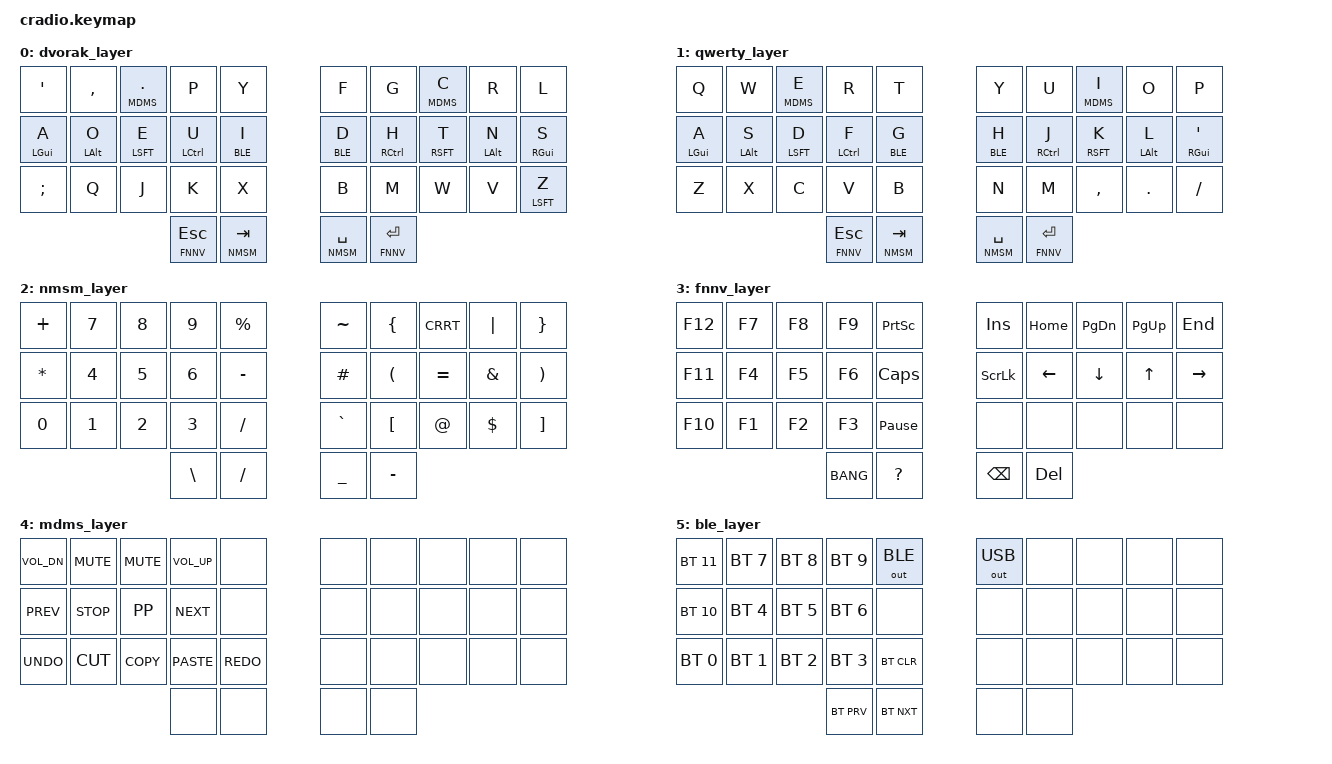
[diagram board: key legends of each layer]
/*
 * Copyright (c) 2020 The ZMK Contributors
 *
 * SPDX-License-Identifier: MIT
 */

#include <behaviors.dtsi>
#include <dt-bindings/zmk/keys.h>
#include <dt-bindings/zmk/bt.h>
#include <dt-bindings/zmk/outputs.h>

#define DVRK 0 /* dvorak */
#define QWRT 1 /* qwerty */
#define NMSM 2 /* numbers + symbols */
#define FNNV 3 /* function keys + navigation  */
#define MDMS 4 /* media + mouse */
#define BLE  5 /* for configuring bluetooth */


/* homerow mod placement ("left pinky mod" = LPMD, "left ring mod" = LRMD, etc) */
#define LPMD LGUI
#define LRMD LALT
#define LMMD LSFT
#define LIMD LCTL 
#define RPMD RGUI
#define RRMD RALT
#define RMMD RSFT
#define RIMD RCTL 

&lt {
    flavor = "balanced";
    tapping_term_ms = <150>;
};

&mt {
    flavor = "balanced";
    tapping_term_ms = <150>;
};

/ { 
    behaviors {
        bkspdel: backspace_delete {
            compatible = "zmk,behavior-mod-morph";
            label = "BACKSPACE_DELETE";
            #binding-cells = <0>;
            bindings = <&kp BSPC>, <&kp DEL>;
            mods = <(MOD_LCTL|MOD_RCTL)>;
        };
    };


    /* keys are numbered started at top left of left hand, and counting across both hands for the entire row.
       So rows are 0-9, 10-19, 20-29, 30-33 (thumbs) 
    */
    combos {
        compatible = "zmk,combos";

        /* hit both left thumb keys at the same time for a delete keypress. 
           Helpful for use with mouse or one-handed ctrl+alt+del. */
        combo_left_thumb_delete {
            timeout-ms = <50>;
            key-positions = <30 31>;
            bindings = <&kp DEL>;
        };

        /* hit outside corner keys (dvorak: ' ; l z)(qwerty q z p /) together to switch between dvorak and qwerty */
        combo_toggle_layout {
            timeout-ms = <50>;
            key-positions = <0 9 20 29>;
            bindings = <&tog QWRT>;
        };

        /* hit the 4 keys closest to the microcontrollers (2 keys per hand) all together to go into bootloader */
        combo_bootloader {
            timeout-ms = <50>;
            key-positions = <14 15 24 25>;
            bindings = <&bootloader>;
        };

        /* hit both right thumb keys at the same time to reset the keyboard */
        /*
        combo_reset {
            timeout-ms = <50>;
            key-positions = <32 33>;
            bindings = <&reset>;
        };*/
    };

    keymap {
        compatible = "zmk,keymap";
                
        dvorak_layer {
            bindings = <
                &kp QUOT   &kp CMMA   &lt MDMS DOT &kp P        &kp Y        /**/ &kp F        &kp G        &lt MDMS C &kp R      &kp L 
                &mt LPMD A &mt LRMD O &mt LMMD E   &mt LIMD U   &lt BLE I    /**/ &lt BLE D    &mt RIMD H   &mt RMMD T &mt LRMD N &mt RPMD S
                &kp SCLN   &kp Q      &kp J        &kp K        &kp X        /**/ &kp B        &kp M        &kp W      &kp V      &mt LSFT Z
                                                   &lt FNNV ESC &lt NMSM TAB /**/ &lt NMSM SPC &lt FNNV RET 
            >;
        };

        qwerty_layer {
            bindings = <
                &kp Q      &kp W      &lt MDMS E   &kp R        &kp T        /**/ &kp Y        &kp U        &lt MDMS I &kp O      &kp P 
                &mt LPMD A &mt LRMD S &mt LMMD D   &mt LIMD F   &lt BLE G    /**/ &lt BLE H    &mt RIMD J   &mt RMMD K &mt LRMD L &mt RPMD QUOT
                &kp Z      &kp X      &kp C        &kp V        &kp B        /**/ &kp N        &kp M        &kp CMMA   &kp DOT    &kp FSLH
                                                   &lt FNNV ESC &lt NMSM TAB /**/ &lt NMSM SPC &lt FNNV RET 
            >;
        };

        nmsm_layer { /* numbers and symbols */
            bindings = <
                &kp PLUS   &kp N7     &kp N8       &kp N9       &kp PRCNT    /**/ &kp TILDE    &kp LBRC     &kp CRRT   &kp PIPE   &kp RBRC 
                &kp STAR   &kp N4     &kp N5       &kp N6       &kp MINUS    /**/ &kp HASH     &kp LPRN     &kp EQUAL  &kp AMPS   &kp RPRN
                &kp N0     &kp N1     &kp N2       &kp N3       &kp FSLH     /**/ &kp GRAVE    &kp LBKT     &kp AT     &kp DLLR   &kp RBKT
                                                   &kp BSLH     &kp FSLH     /**/ &kp UNDER    &kp MINUS 
            >;
        };

        fnnv_layer { /* function keys and navigation */
            bindings = <
                &kp F12    &kp F7     &kp F8       &kp F9       &kp PSCRN    /**/ &kp INSERT   &kp HOME     &kp PG_DN  &kp PG_UP  &kp END 
                &kp F11    &kp F4     &kp F5       &kp F6       &kp CAPS     /**/ &kp SLCK     &kp LEFT     &kp DOWN   &kp UP     &kp RIGHT
                &kp F10    &kp F1     &kp F2       &kp F3       &kp PAUSE_BREAK   &none        &none        &none      &none      &none
                                                   &kp BANG     &kp QMARK    /**/ &kp BKSP     &kp DEL     
            >;
        };

        mdms_layer { /* media and mouse */
            bindings = <
                &kp K_VOL_DN &kp K_MUTE &kp K_MUTE &kp K_VOL_UP &none        /**/ &none        &none        &none      &none      &none 
                &kp K_PREV   &kp K_STOP &kp K_PP   &kp K_NEXT   &none        /**/ &none        &none        &none      &none      &none   
                &kp K_UNDO   &kp K_CUT  &kp K_COPY &kp K_PASTE  &kp K_REDO   /**/ &none        &none        &none      &none      &none
                                                   &none        &none        /**/ &none        &none     
            >;
        };

        ble_layer { /* bluetooth/connection settings */
            bindings = <
                &bt BT_SEL 11 &bt BT_SEL 7 &bt BT_SEL 8 &bt BT_SEL 9 &out OUT_BLE /**/ &out OUT_USB &none        &none      &none      &none 
                &bt BT_SEL 10 &bt BT_SEL 4 &bt BT_SEL 5 &bt BT_SEL 6 &none        /**/ &none        &none        &none      &none      &none   
                &bt BT_SEL 0  &bt BT_SEL 1 &bt BT_SEL 2 &bt BT_SEL 3 &bt BT_CLR   /**/ &none        &none        &none      &none      &none
                                                        &bt BT_PRV   &bt BT_NXT   /**/ &none        &none     
            >;
        };
  };
};
